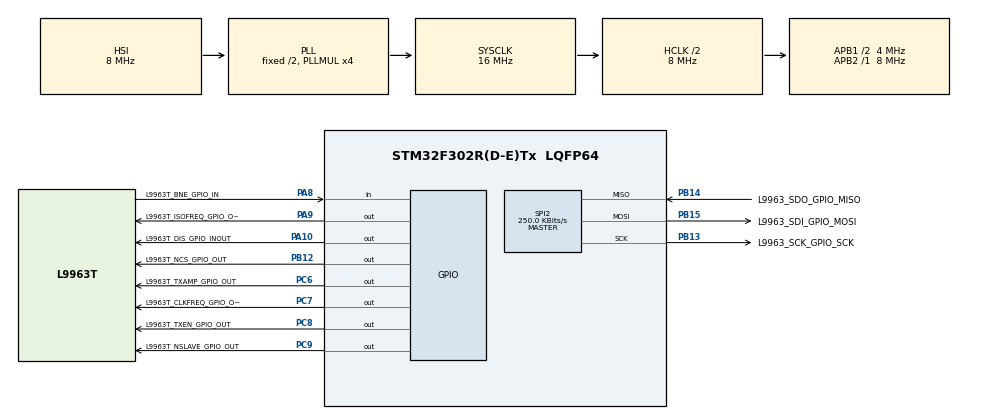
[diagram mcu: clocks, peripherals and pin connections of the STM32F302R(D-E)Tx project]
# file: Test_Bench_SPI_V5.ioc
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Mcu.Family=STM32F3
Mcu.Name=STM32F302R(D-E)Tx
Mcu.Package=LQFP64
NVIC.PriorityGroup=NVIC_PRIORITYGROUP_4
PA10.GPIO_Label=L9963T_DIS_GPIO_INOUT
PA10.Signal=GPIO_Output
PA8.GPIO_Label=L9963T_BNE_GPIO_IN
PA8.Signal=GPIO_Input
PA9.GPIO_Label=L9963T_ISOFREQ_GPIO_OUT
PA9.Signal=GPIO_Output
PB12.GPIO_Label=L9963T_NCS_GPIO_OUT
PB12.Signal=GPIO_Output
PB13.GPIO_Label=L9963_SCK_GPIO_SCK
PB13.Mode=Full_Duplex_Master
PB13.Signal=SPI2_SCK
PB14.GPIO_Label=L9963_SDO_GPIO_MISO
PB14.Mode=Full_Duplex_Master
PB14.Signal=SPI2_MISO
PB15.GPIO_Label=L9963_SDI_GPIO_MOSI
PB15.Mode=Full_Duplex_Master
PB15.Signal=SPI2_MOSI
PC6.GPIO_Label=L9963T_TXAMP_GPIO_OUT
PC6.Signal=GPIO_Output
PC7.GPIO_Label=L9963T_CLKFREQ_GPIO_OUT
PC7.Signal=GPIO_Output
PC8.GPIO_Label=L9963T_TXEN_GPIO_OUT
PC8.Signal=GPIO_Output
PC9.GPIO_Label=L9963T_NSLAVE_GPIO_OUT
PC9.Signal=GPIO_Output
PF0-OSC_IN.Mode=HSE-External-Oscillator
PF0-OSC_IN.Signal=RCC_OSC_IN
PF1-OSC_OUT.Mode=HSE-External-Oscillator
PF1-OSC_OUT.Signal=RCC_OSC_OUT
ProjectManager.HeapSize=0x200
ProjectManager.StackSize=0x400
ProjectManager.TargetToolchain=STM32CubeIDE
RCC.AHBCLKDivider=RCC_SYSCLK_DIV2
RCC.AHBFreq_Value=8000000
RCC.APB1CLKDivider=RCC_HCLK_DIV2
RCC.APB1Freq_Value=4000000
RCC.APB1TimFreq_Value=8000000
RCC.APB2Freq_Value=8000000
RCC.APB2TimFreq_Value=8000000
RCC.CortexFreq_Value=8000000
RCC.HCLKFreq_Value=8000000
RCC.HSE_VALUE=24000000
RCC.HSI_VALUE=8000000
RCC.LSE_VALUE=32768
RCC.PLLMUL=RCC_PLL_MUL4
RCC.SYSCLKFreq_VALUE=16000000
RCC.SYSCLKSourceVirtual=RCC_SYSCLKSOURCE_PLLCLK
RCC.USBFreq_Value=16000000
SPI2.BaudRatePrescaler=SPI_BAUDRATEPRESCALER_16
SPI2.CLKPhase=SPI_PHASE_2EDGE
SPI2.CRCCalculation=SPI_CRCCALCULATION_DISABLE
SPI2.CalculateBaudRate=250.0 KBits/s
SPI2.DataSize=SPI_DATASIZE_8BIT
SPI2.Direction=SPI_DIRECTION_2LINES
SPI2.Mode=SPI_MODE_MASTER
SPI2.VirtualType=VM_MASTER
board=custom

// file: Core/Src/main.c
/* USER CODE BEGIN Header */
/**
  ******************************************************************************
  * @file           : main.c
  * @brief          : Main program body
  ******************************************************************************
  * @attention
  *
  * Copyright (c) 2026 STMicroelectronics.
  * All rights reserved.
  *
  * This software is licensed under terms that can be found in the LICENSE file
  * in the root directory of this software component.
  * If no LICENSE file comes with this software, it is provided AS-IS.
  *
  ******************************************************************************
  */
/* USER CODE END Header */
#include "main.h"
#include "spi.h"
#include "gpio.h"

/* USER CODE BEGIN Includes */
#include <stdio.h>
#include <string.h>
#include <stdint.h>
#include "L9963E_utils.h"

/* USER CODE END Includes */

/* USER CODE BEGIN PD */
#define L9963E_DEBUG
/* USER CODE END PD */

void SystemClock_Config(void);

/* USER CODE BEGIN 0 */

void L9963T_init(void){

	HAL_GPIO_WritePin(L9963T_CLKFREQ_GPIO_OUT_GPIO_Port,L0063T_CLKFREQ_GPIO_OUT_Pin,GPIO_Pin_Set);
}

// Transmit and recive frame, data ready to be transmitted
	  uint8_t Wake_Up[5] = {
			  0x55,  // Byte 0: P.A.=0, R/W=0, Dev ID=0000 (broadcast)
		      0x55,  // Byte 1: Address = 0x00
			  0x55,  // Byte 2: GSW + Data (upper bits)
			  0x55,  // Byte 3: Data (middle bits)
			  0x55,   // Byte 4: Data (lower bits) + CRC
	  };

	uint8_t TX_Buffer[5] = {
			0x00,
	   	    0x00,
		    0x08,
			0x04,
			0xC2};

 uint8_t RX_Request[5] = {
		   0x00,
			  0x00,
			  0x00,
			  0x04,
		      0x82};

	 uint8_t RX_Buffer[5] = {
	  	  0x00,  // Byte 0: P.A.=0, R/W=0, Dev ID=0000 (broadcast)
	  	  0x00,  // Byte 1: Address = 0x00
   	      0x00,  // Byte 2: GSW + Data (upper bits)
  	  	  0x00,  // Byte 3: Data (middle bits)
	  	  0x00   // Byte 4: Data (lower bits) + CRC
	  	  	  };
	 uint8_t TX_Dummy[5] = {
	 	  	  0x00,  // Byte 0: P.A.=0, R/W=0, Dev ID=0000 (broadcast)
	 	  	  0x00,  // Byte 1: Address = 0x00
	    	  0x00,  // Byte 2: GSW + Data (upper bits)
	   	  	  0x00,  // Byte 3: Data (middle bits)
	 	  	  0x00   // Byte 4: Data (lower bits) + CRC
	 	  	  	  };

void Daniel_init(void){

    HAL_GPIO_WritePin(NSLAVE_GPIO_Port, NSLAVE_Pin, GPIO_PIN_RESET); // 1 = on
    HAL_GPIO_WritePin(TXEN_GPIO_Port, TXEN_Pin, GPIO_PIN_SET); // 1 = on
    HAL_GPIO_WritePin(TXAMP_GPIO_Port, TXAMP_Pin, GPIO_PIN_RESET);
    HAL_GPIO_WritePin(ISOFREQ_GPIO_Port, ISOFREQ_Pin, GPIO_PIN_RESET);
    HAL_GPIO_WritePin(DIS_GPIO_Port, DIS_Pin, GPIO_PIN_RESET);
    //HAL_GPIO_WritePin(GPIOA, GPIO_PIN_4, GPIO_PIN_SET);

    // Start main thing

    uint8_t TX_Hold1[5] = {};
    uint8_t TX_Hold2[5] = {};
    uint8_t TX_Hold3[5] = {};

          HAL_GPIO_WritePin(GPIOA, GPIO_PIN_4, GPIO_PIN_RESET);
          HAL_SPI_Transmit(&hspi3, Wake_Up,5,32); //Sending in DMA mode
          HAL_GPIO_WritePin(GPIOA, GPIO_PIN_4, GPIO_PIN_SET);
    	  HAL_Delay(2);

/*
			HAL_GPIO_WritePin(TXEN_GPIO_Port, TXEN_Pin, GPIO_PIN_RESET); // 1 = on
			//while(HAL_GPIO_ReadPin(GPIOA, GPIO_PIN_12) == 1){}
			HAL_GPIO_WritePin(GPIOA, GPIO_PIN_4, GPIO_PIN_RESET);
			HAL_SPI_Receive(&hspi3, RX_Buffer, 5, 32);
			HAL_GPIO_WritePin(GPIOA, GPIO_PIN_4, GPIO_PIN_SET);
			HAL_GPIO_WritePin(TXEN_GPIO_Port, TXEN_Pin, GPIO_PIN_SET); // 1 = on

*/

          HAL_GPIO_WritePin(GPIOA, GPIO_PIN_4, GPIO_PIN_RESET);
          L9963E_Add_CRC_To_Word(TX_Buffer);
          switch_endianness(TX_Buffer, TX_Hold1,1);
          HAL_SPI_Transmit(&hspi3, TX_Hold1,5,32); //Sending in DMA mode
          HAL_GPIO_WritePin(GPIOA, GPIO_PIN_4, GPIO_PIN_SET);

/*

          	  	  	HAL_GPIO_WritePin(TXEN_GPIO_Port, TXEN_Pin, GPIO_PIN_RESET); // 1 = on
                    //while(HAL_GPIO_ReadPin(GPIOA, GPIO_PIN_12) == 1){}
                    HAL_GPIO_WritePin(GPIOA, GPIO_PIN_4, GPIO_PIN_RESET);
                    HAL_SPI_Receive(&hspi3, RX_Buffer, 5, 32);
                    HAL_GPIO_WritePin(GPIOA, GPIO_PIN_4, GPIO_PIN_SET);
                    HAL_GPIO_WritePin(TXEN_GPIO_Port, TXEN_Pin, GPIO_PIN_SET); // 1 = on
*/

          HAL_GPIO_WritePin(GPIOA, GPIO_PIN_4, GPIO_PIN_RESET);
          L9963E_Add_CRC_To_Word(RX_Request);
          switch_endianness(RX_Request, TX_Hold2,1);
          HAL_SPI_Transmit(&hspi3, TX_Hold2,5,32); //Sending in DMA mode
          HAL_GPIO_WritePin(GPIOA, GPIO_PIN_4, GPIO_PIN_SET);

/*

          HAL_GPIO_WritePin(TXEN_GPIO_Port, TXEN_Pin, GPIO_PIN_RESET); // 1 = on
          //while(HAL_GPIO_ReadPin(GPIOA, GPIO_PIN_12) == 1){}
          HAL_GPIO_WritePin(GPIOA, GPIO_PIN_4, GPIO_PIN_RESET);
          HAL_SPI_Receive(&hspi3, RX_Buffer, 5, 32);
          HAL_GPIO_WritePin(GPIOA, GPIO_PIN_4, GPIO_PIN_SET);
          HAL_GPIO_WritePin(TXEN_GPIO_Port, TXEN_Pin, GPIO_PIN_SET); // 1 = on

*/

                   HAL_GPIO_WritePin(GPIOA, GPIO_PIN_4, GPIO_PIN_RESET);
                   L9963E_Add_CRC_To_Word(TX_Dummy);
                   switch_endianness(TX_Dummy, TX_Hold3,0);
                   HAL_SPI_Transmit(&hspi3, TX_Hold3,5,32); //Sending in DMA mode
                   HAL_GPIO_WritePin(GPIOA, GPIO_PIN_4, GPIO_PIN_SET);
               //    HAL_Delay(2);

         HAL_GPIO_WritePin(TXEN_GPIO_Port, TXEN_Pin, GPIO_PIN_RESET); // 1 = on
                            //while(HAL_GPIO_ReadPin(GPIOA, GPIO_PIN_12) == 1){}
                  HAL_GPIO_WritePin(GPIOA, GPIO_PIN_4, GPIO_PIN_RESET);
                  HAL_SPI_Receive(&hspi3, RX_Buffer, 5, 32);
                  HAL_GPIO_WritePin(GPIOA, GPIO_PIN_4, GPIO_PIN_SET);
                  HAL_GPIO_WritePin(TXEN_GPIO_Port, TXEN_Pin, GPIO_PIN_SET); // 1 = on

                  HAL_GPIO_WritePin(GPIOA, GPIO_PIN_4, GPIO_PIN_RESET);
                                     L9963E_Add_CRC_To_Word(TX_Dummy);
                                     switch_endianness(TX_Dummy, TX_Hold3,0);
                                     HAL_SPI_Transmit(&hspi3, TX_Hold3,5,32); //Sending in DMA mode
                                     HAL_GPIO_WritePin(GPIOA, GPIO_PIN_4, GPIO_PIN_SET);
                                  //   HAL_Delay(2);

                           HAL_GPIO_WritePin(TXEN_GPIO_Port, TXEN_Pin, GPIO_PIN_RESET); // 1 = on
                                              //while(HAL_GPIO_ReadPin(GPIOA, GPIO_PIN_12) == 1){}
                                    HAL_GPIO_WritePin(GPIOA, GPIO_PIN_4, GPIO_PIN_RESET);
                                    HAL_SPI_Receive(&hspi3, RX_Buffer, 5, 32);
                                    HAL_GPIO_WritePin(GPIOA, GPIO_PIN_4, GPIO_PIN_SET);
                                    HAL_GPIO_WritePin(TXEN_GPIO_Port, TXEN_Pin, GPIO_PIN_SET); // 1 = on

                                    HAL_GPIO_WritePin(GPIOA, GPIO_PIN_4, GPIO_PIN_RESET);
                                                       L9963E_Add_CRC_To_Word(TX_Dummy);
                                                       switch_endianness(TX_Dummy, TX_Hold3,0);
                                                       HAL_SPI_Transmit(&hspi3, TX_Hold3,5,32); //Sending in DMA mode
                                                       HAL_GPIO_WritePin(GPIOA, GPIO_PIN_4, GPIO_PIN_SET);
                                                   //    HAL_Delay(2);

                                             HAL_GPIO_WritePin(TXEN_GPIO_Port, TXEN_Pin, GPIO_PIN_RESET); // 1 = on
                                                                //while(HAL_GPIO_ReadPin(GPIOA, GPIO_PIN_12) == 1){}
                                                      HAL_GPIO_WritePin(GPIOA, GPIO_PIN_4, GPIO_PIN_RESET);
                                                      HAL_SPI_Receive(&hspi3, RX_Buffer, 5, 32);
                                                      HAL_GPIO_WritePin(GPIOA, GPIO_PIN_4, GPIO_PIN_SET);
                                                      HAL_GPIO_WritePin(TXEN_GPIO_Port, TXEN_Pin, GPIO_PIN_SET); // 1 = on

         // HAL_SPI_Transmit_DMA(&hspi3, TX_Buffer, 1); //

}
/* USER CODE END 0 */

int main(void)
{

  /* MCU Configuration--------------------------------------------------------*/

  /* Reset of all peripherals, Initializes the Flash interface and the Systick. */
  HAL_Init();

  /* USER CODE BEGIN Init */
  void L9963E_Add_CRC_To_Word(uint8_t *word);
  uint8_t L9963E_Calculate_CRC(uint8_t *data, uint8_t length);
  /* USER CODE END Init */

  /* Configure the system clock */
  SystemClock_Config();

  /* Initialize all configured peripherals */
  MX_GPIO_Init();
  MX_SPI2_Init();
  /* USER CODE BEGIN 2 */
  while(HAL_GetTick() < 500)
    HAL_Delay(100);

  L9963E_utils_init();
  // init the L9963E for RX only
  //NSLAVE = 0
  // ISOFREQ = 0
  // TXAMP = 0
  //
  Daniel_init();

  /* USER CODE END 2 */

  /* Infinite loop */
  while (1)
  {

  }
}

void SystemClock_Config(void)
{
  RCC_OscInitTypeDef RCC_OscInitStruct = {0};
  RCC_ClkInitTypeDef RCC_ClkInitStruct = {0};

  /** Initializes the RCC Oscillators according to the specified parameters
  * in the RCC_OscInitTypeDef structure.
  */
  RCC_OscInitStruct.OscillatorType = RCC_OSCILLATORTYPE_HSI;
  RCC_OscInitStruct.HSIState = RCC_HSI_ON;
  RCC_OscInitStruct.HSICalibrationValue = RCC_HSICALIBRATION_DEFAULT;
  RCC_OscInitStruct.PLL.PLLState = RCC_PLL_ON;
  RCC_OscInitStruct.PLL.PLLSource = RCC_PLLSOURCE_HSI;
  RCC_OscInitStruct.PLL.PLLMUL = RCC_PLL_MUL4;
  RCC_OscInitStruct.PLL.PREDIV = RCC_PREDIV_DIV1;
  if (HAL_RCC_OscConfig(&RCC_OscInitStruct) != HAL_OK)
  {
    Error_Handler();
  }

  /** Initializes the CPU, AHB and APB buses clocks
  */
  RCC_ClkInitStruct.ClockType = RCC_CLOCKTYPE_HCLK|RCC_CLOCKTYPE_SYSCLK
                              |RCC_CLOCKTYPE_PCLK1|RCC_CLOCKTYPE_PCLK2;
  RCC_ClkInitStruct.SYSCLKSource = RCC_SYSCLKSOURCE_PLLCLK;
  RCC_ClkInitStruct.AHBCLKDivider = RCC_SYSCLK_DIV2;
  RCC_ClkInitStruct.APB1CLKDivider = RCC_HCLK_DIV2;
  RCC_ClkInitStruct.APB2CLKDivider = RCC_HCLK_DIV1;

  if (HAL_RCC_ClockConfig(&RCC_ClkInitStruct, FLASH_LATENCY_0) != HAL_OK)
  {
    Error_Handler();
  }
}

/* USER CODE BEGIN 4 */
// Makes a frame of Data from inputs

uint8_t Frame_Builder(uint8_t Data, uint8_t Address, uint8_t RW){

	uint8_t TX_Frame[5] = {};

	 TX_Frame[0] = Data >> 32;
	 TX_Frame[1] = (Address >> 24) & 0x4;
	 TX_Frame[2] = RW >> 8;

	return TX_Frame;
}

void switch_endianness(uint8_t *in, uint8_t *out, uint8_t state) {

if(state == 1){
    out[0] = in[4];
    out[1] = in[3];
    out[2] = in[2];
    out[3] = in[1];
    out[4] = in[0];
}else if(state == 0){
    out[0] = in[0];
    out[1] = in[1];
    out[2] = in[2];
    out[3] = in[3];
    out[4] = in[4];
}
    return;
}

// Claude CRC code

/**
 * @brief Calculate 6-bit CRC for L9963E communication
 * @param data Pointer to data bytes (40 bits = 5 bytes)
 * @param length Number of bytes to process (typically 5 for 40-bit word)
 * @return 6-bit CRC value
 */
uint8_t L9963E_Calculate_CRC(uint8_t *data, uint8_t length)
{
    uint8_t crc = L9963E_CRC_INIT;
    uint8_t i, j;

    for (i = 0; i < length; i++)
    {
        crc ^= data[i];

        for (j = 0; j < 8; j++)
        {
            if (crc & 0x80)  // Check MSB
            {
                crc = (crc << 1) ^ L9963E_CRC_POLY;
            }
            else
            {
                crc = crc << 1;
            }
        }
    }

    // Return only 6-bit CRC
    return (crc >> 2) & 0x3F;
}

/**
 * @brief Add CRC to a 40-bit word in the first 6 bits
 * @param word Pointer to 40-bit word (5 bytes array)
 * @note The CRC is placed in bits [39:34] (first 6 bits of first byte)
 *       The function assumes data is in bits [33:0]
 */
void L9963E_Add_CRC_To_Word(uint8_t *word)
{
    uint8_t crc;
    uint8_t temp_data[5];

    // Copy word data, clearing the CRC bits
    temp_data[0] = word[0] & 0x03;  // Clear upper 6 bits (CRC field)
    temp_data[1] = word[1];
    temp_data[2] = word[2];
    temp_data[3] = word[3];
    temp_data[4] = word[4];

    // Calculate CRC on the 34-bit data portion
    crc = L9963E_Calculate_CRC(temp_data, 5);

    // Insert CRC into the upper 6 bits of first byte
    word[0] = (word[0] & 0x03) | (crc << 2);
}

/* USER CODE END 4 */

void Error_Handler(void)
{
  __disable_irq();
  while (1)
  {
  }
}
